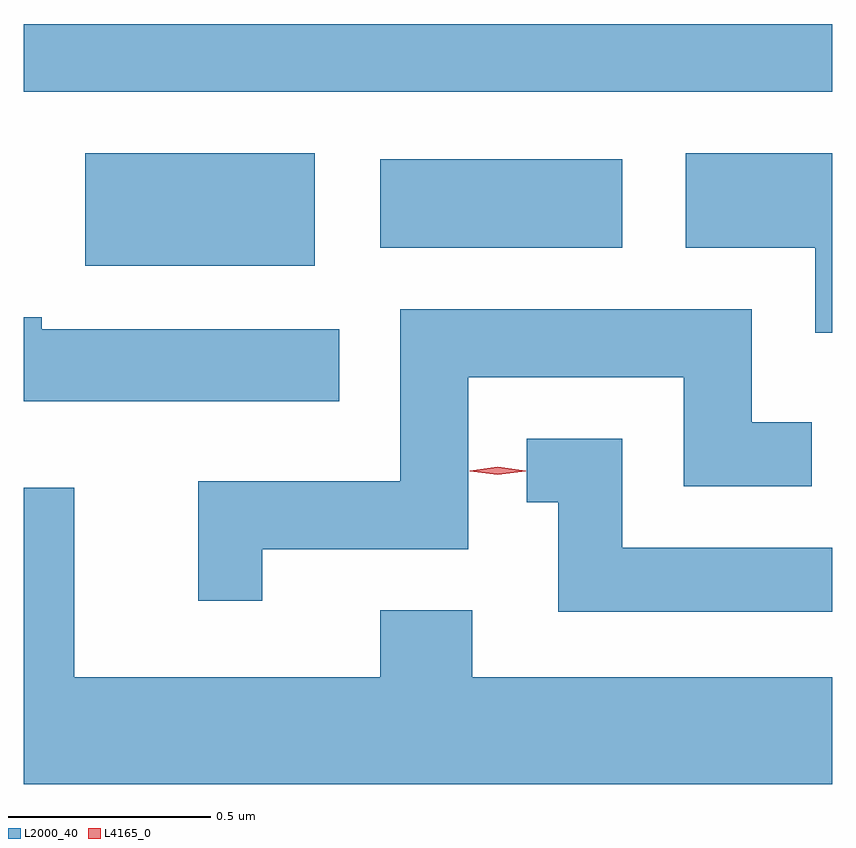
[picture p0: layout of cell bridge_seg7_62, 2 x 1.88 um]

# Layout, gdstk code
import gdstk
lib = gdstk.Library(unit=1e-6, precision=1e-09)
def R(c, l, rs):  # rectangles x0, y0, x1, y1
    for r in rs: c.add(gdstk.rectangle(r[:2], r[2:], *l))
def P(c, l, *ps):  # polygons
    for p in ps: c.add(gdstk.Polygon(p, *l))
L2000_40 = (2000, 40)
L4165_0 = (4165, 0)

bridge_seg7_62 = lib.new_cell('bridge_seg7_62')
R(bridge_seg7_62, L2000_40, [(1613.491,1804.401,1614.059,1804.679), (1614.221,1804.446,1614.819,1804.664), (1613.339,1804.831,1615.339,1804.999)])
P(bridge_seg7_62, L2000_40, [(1615.339,1804.679),(1614.976,1804.679),(1614.976,1804.446),(1615.296,1804.446),(1615.296,1804.236),(1615.339,1804.236)],
  [(1613.929,1803.701),(1614.439,1803.701),(1614.439,1804.126),(1614.971,1804.126),(1614.971,1803.856),(1615.288,1803.856),(1615.288,1804.014),(1615.139,1804.014),(1615.139,1804.294),(1614.271,1804.294),(1614.271,1803.869),(1613.771,1803.869),(1613.771,1803.573),(1613.929,1803.573)],
  [(1614.119,1804.244),(1613.384,1804.244),(1613.384,1804.274),(1613.339,1804.274),(1613.339,1804.066),(1614.119,1804.066)],
  [(1615.339,1803.704),(1614.819,1803.704),(1614.819,1803.974),(1614.583,1803.974),(1614.583,1803.816),(1614.661,1803.816),(1614.661,1803.546),(1615.339,1803.546)],
  [(1615.339,1803.384),(1614.449,1803.384),(1614.449,1803.549),(1614.221,1803.549),(1614.221,1803.384),(1613.464,1803.384),(1613.464,1803.853),(1613.339,1803.853),(1613.339,1803.12),(1615.339,1803.12)])
P(bridge_seg7_62, L4165_0, [(1614.512,1803.884),(1614.442,1803.893),(1614.442,1803.894),(1614.442,1803.894),(1614.512,1803.904),(1614.581,1803.894),(1614.581,1803.894),(1614.581,1803.893)])

lib.write_gds('bridge_seg7_62.gds')
